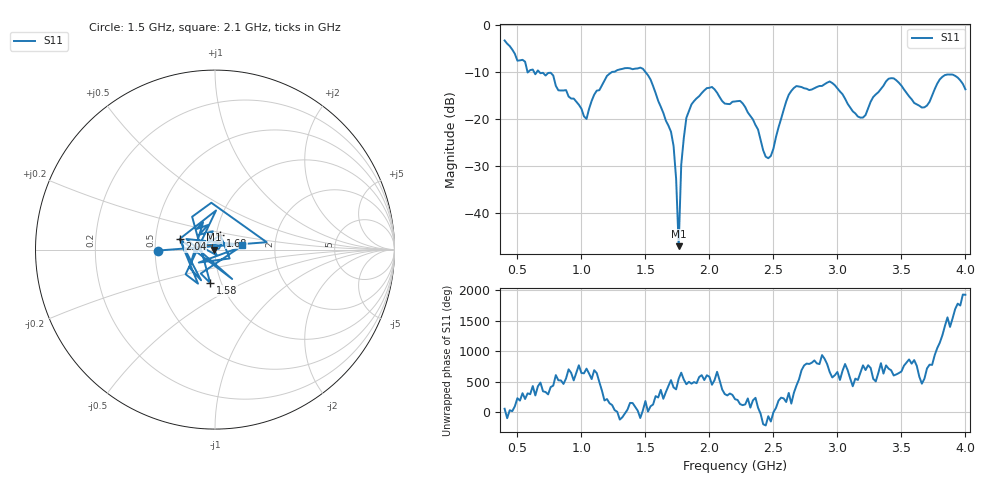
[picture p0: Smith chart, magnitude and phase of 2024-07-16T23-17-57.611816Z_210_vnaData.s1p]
!Created with skrf (http://scikit-rf.org).
# Hz S RI R 50.0
!freq ReS11 ImS11
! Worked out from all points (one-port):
!   181 points, 400 MHz to 4 GHz, reference 50 ohm
!   lowest |S11| = -47.1 dB at 1.76 GHz (marker M1), VSWR 1.01, Z = 49.6 - j0.0477 ohm
!   |S11| at or under -10 dB: 578.7 MHz to 585.8 MHz (7.103 MHz wide, 1.22 % of centre); 669.8 MHz to 1.249 GHz (579.5 MHz wide, 60.4 % of centre); 1.499 GHz to end of sweep (the widest 3 of 4)
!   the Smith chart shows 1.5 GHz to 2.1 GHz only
!   S11 on the Smith chart (normalised r, x): 1.5 GHz: 0.52, -0.01; 1.58 GHz: 0.89, -0.34; 1.68 GHz: 1.05, +0.17; 2.04 GHz: 0.67, +0.08; 2.1 GHz: 1.36, +0.08
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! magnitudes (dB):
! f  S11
! 400 MHz  -3.3
! 580 MHz  -10.1
! 860 MHz  -14.0
! 1.04 GHz  -20.0
! 1.12 GHz  -14.0
! 1.3 GHz  -9.5
! 1.5 GHz  -10.0
! 1.58 GHz  -14.5
! 1.68 GHz  -21.5
! 1.72 GHz  -25.8
! 1.74 GHz  -32.7
! 1.76 GHz  -47.1
! 1.78 GHz  -29.7
! 1.82 GHz  -19.8
! 2.04 GHz  -13.7
! 2.1 GHz  -16.2
! 2.2 GHz  -16.3
! 2.34 GHz  -20.1
! 2.46 GHz  -28.4
! 2.66 GHz  -13.4
! 2.94 GHz  -12.1
! 3.1 GHz  -17.6
! 3.2 GHz  -19.7
! 3.42 GHz  -11.4
! 3.56 GHz  -15.2
! 3.68 GHz  -17.5
! 3.86 GHz  -10.6
! 4 GHz  -13.7
